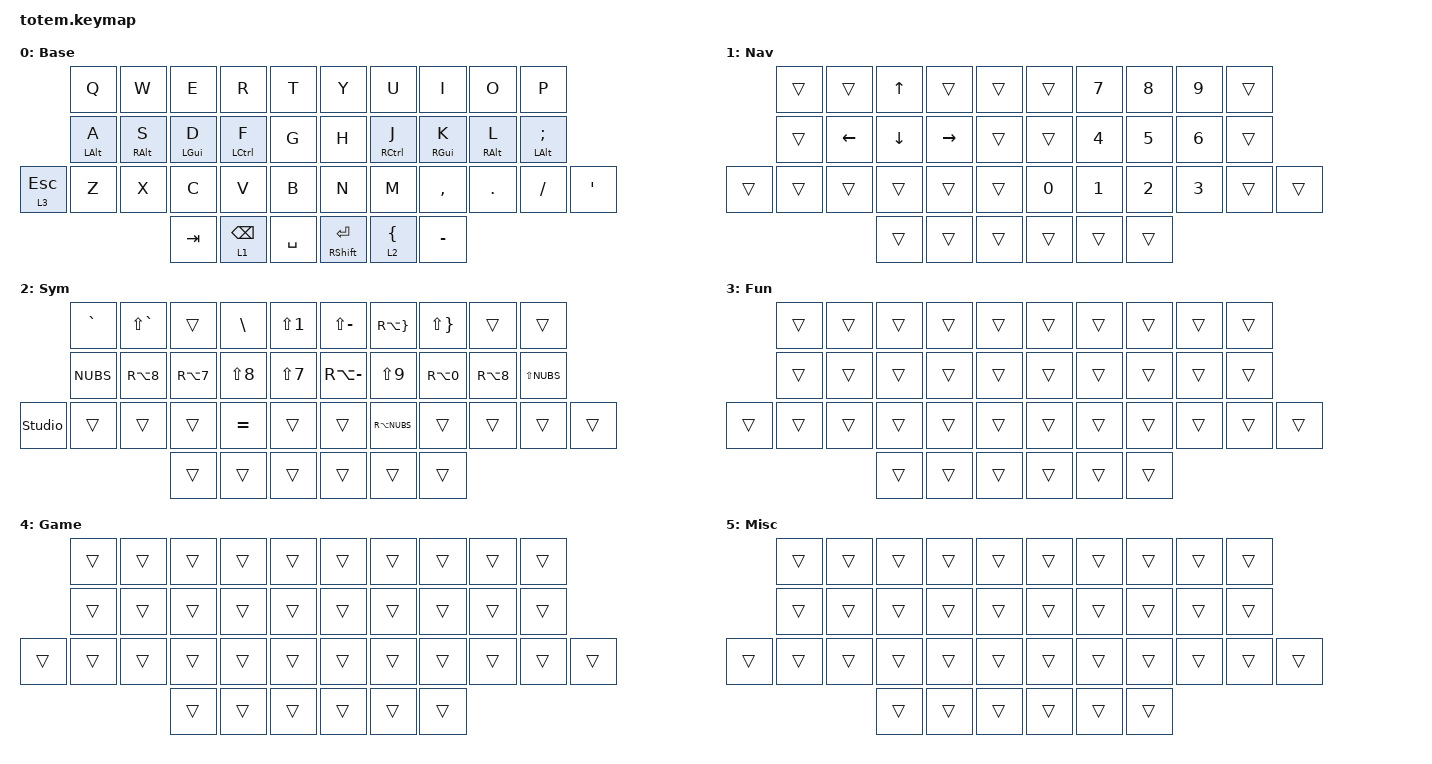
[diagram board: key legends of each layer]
//
//                                                        ▀▀▀▀▀     ▀▀▀▀▀          ▀▀█▀▀
//                                                        ▄▀▀▀▄  ▄  ▄▀▀▀▄  ▄  ▄▀▀▀▄  █  ▄▀▀▀▄
//                                                        █   █  █  █   █  █  █   █  █  █   █
//                                                         ▀▀▀   █   ▀▀▀   █   ▀▀▀   ▀   ▀▀▀
//                                                               █      ▄▄▄█▄▄▄    █   █
//                                                               ▀      █  █  █     █▄█
//                                                             ▀▀▀▀▀    █  █  █      ▀
//                                                                      ▀  ▀  ▀
//
// ▄▄▄▄▄▄▄▄▄▄▄▄▄▄▄▄▄▄▄▄▄▄▄▄▄▄▄▄▄▄▄▄▄▄▄▄▄▄▄▄▄▄▄▄▄▄▄▄▄▄▄▄▄▄▄▄▄▄▄▄▄▄▄▄▄▄▄▄▄▄▄▄▄▄▄▄▄▄▄▄▄▄▄▄▄▄▄▄▄▄▄▄▄▄▄▄▄▄▄▄▄▄▄▄▄▄▄▄▄▄▄▄▄▄▄▄▄▄▄▄▄▄▄▄▄▄▄▄▄▄▄▄▄▄▄▄▄▄▄▄▄▄▄▄▄▄▄▄▄

#include <behaviors.dtsi>
#include <dt-bindings/zmk/keys.h>
#include "zmk-helpers/key-labels/totem.h"

#define KEYS_L LT0 LT1 LT2 LT3 LT4 LM0 LM1 LM2 LM3 LM4 LB0 LB1 LB2 LB3 LB4 LB5 // Left-hand keys.
#define KEYS_R RT0 RT1 RT2 RT3 RT4 RM0 RM1 RM2 RM3 RM4 RB0 RB1 RB2 RB3 RB4 RB5 // Right-hand keys.
#define THUMBS LH2 LH1 LH0 RH0 RH1 RH2                                      // Thumb keys.

#define Base        0
#define Nav         1
#define Sym         2
#define Fun         3
#define Game        4
#define Misc        5

&mt {
    quick-tap-ms = <100>;
    global-quick-tap;
    flavor = "tap-preferred";
    tapping-term-ms = <170>;
};

&lt {
    tapping-term-ms = <240>;
    flavor = "balanced";
    quick-tap-ms = <150>;
};

/ {
    behaviors {
        // hm: homerow_mods {
        //     compatible = "zmk,behavior-hold-tap";
        //     label = "HOMEROW_MODS";
        //     #binding-cells = <2>;
        //     flavor = "tap-preferred";
        //     tapping-term-ms = <200>;
        //     quick-tap-ms = <125>;
        //     global-quick-tap;
        //     bindings = <&kp>, <&kp>;
        // };
        hml: home_row_mod_left {
            compatible = "zmk,behavior-hold-tap";
            #binding-cells = <2>;
            flavor = "balanced";
            require-prior-idle-ms = <150>;
            tapping-term-ms = <280>;
            quick-tap-ms = <175>;
            bindings = <&kp>, <&kp>;
            hold-trigger-key-positions = <KEYS_R THUMBS>;
            hold-trigger-on-release;
        };
        hmr: home_row_mod_right {
            compatible = "zmk,behavior-hold-tap";
            #binding-cells = <2>;
            flavor = "balanced";
            require-prior-idle-ms = <150>;
            tapping-term-ms = <280>;
            quick-tap-ms = <175>;
            bindings = <&kp>, <&kp>;
            hold-trigger-key-positions = <KEYS_L THUMBS>;
            hold-trigger-on-release;
        };
    };

    combos { compatible = "zmk,combos"; };

    keymap {
        compatible = "zmk,keymap";

        Base {
            display-name = "Base";
            bindings = <
              &kp Q       &kp W       &kp E          &kp R         &kp T           &kp Y          &kp U         &kp I        &kp O       &kp P
              &hml LALT A &hml RALT S &hml LGUI D    &hml LCTRL F  &kp G           &kp H          &hmr RCTRL J  &hmr RGUI K  &hmr RALT L &hmr LALT SEMICOLON
&lt 3 ESCAPE  &kp Z       &kp X       &kp C          &kp V         &kp B           &kp N          &kp M         &kp COMMA    &kp DOT     &kp SLASH           &kp APOSTROPHE
                                      &kp TAB        &lt 1 BSPC    &kp SPACE       &mt RSHFT RET  &lt 2 LBRC    &kp MINUS
            >;
        };

        Nav {
            display-name = "Nav";
            bindings = <
              &trans    &trans      &kp UP_ARROW    &trans      &trans          &trans  &kp N7  &kp N8  &kp N9  &trans
              &trans    &kp LEFT    &kp DOWN        &kp RIGHT   &trans          &trans  &kp N4  &kp N5  &kp N6  &trans
       &trans &trans    &trans      &trans          &trans      &trans          &kp N0  &kp N1  &kp N2  &kp N3  &trans  &trans
                                    &trans          &trans      &trans          &trans  &trans  &trans
            >;
        };

        Sym {
            display-name = "Sym";
            bindings = <
                &kp GRAVE   &kp LS(GRAVE)   &trans      &kp BSLH    &kp LS(N1)          &kp LS(MINUS)   &kp RA(RBRC)    &kp LS(RBRC)    &trans      &trans
                &kp NUBS    &kp RA(N8)      &kp RA(N7)  &kp LS(N8)  &kp LS(N7)          &kp RA(MINUS)   &kp LS(N9)      &kp RA(N0)      &kp RA(N8)  &kp LS(NUBS)
&studio_unlock  &trans      &trans          &trans      &kp EQL     &trans              &trans          &kp RA(NUBS)    &trans          &trans      &trans          &trans
                                            &trans      &trans      &trans              &trans          &trans          &trans
            >;
        };
        Fun {
            display-name = "Fun";
            bindings = <
        &trans  &trans  &trans  &trans  &trans          &trans  &trans  &trans  &trans  &trans
        &trans  &trans  &trans  &trans  &trans          &trans  &trans  &trans  &trans  &trans
&trans  &trans  &trans  &trans  &trans  &trans          &trans  &trans  &trans  &trans  &trans  &trans
                        &trans  &trans  &trans          &trans  &trans  &trans
            >;
        };

        Gaming {
            display-name = "Game";
            bindings = <
        &trans  &trans  &trans  &trans  &trans          &trans  &trans  &trans  &trans  &trans
        &trans  &trans  &trans  &trans  &trans          &trans  &trans  &trans  &trans  &trans
&trans  &trans  &trans  &trans  &trans  &trans          &trans  &trans  &trans  &trans  &trans  &trans
                        &trans  &trans  &trans          &trans  &trans  &trans
            >;
        };

        Misc {
            display-name = "Misc";
            bindings = <
        &trans  &trans  &trans  &trans  &trans          &trans  &trans  &trans  &trans  &trans
        &trans  &trans  &trans  &trans  &trans          &trans  &trans  &trans  &trans  &trans
&trans  &trans  &trans  &trans  &trans  &trans          &trans  &trans  &trans  &trans  &trans  &trans
                        &trans  &trans  &trans          &trans  &trans  &trans
            >;
        };

//         Fun {
//             display-name = "Fun";
//             bindings = <
//         &bootloader  &trans  &trans  &trans  &to 4     &trans  &trans  &trans  &kp END  &kp F1
//         &trans       &trans  &trans  &trans  &trans    &trans  &trans  &trans  &trans   &kp F10
// &trans  &trans       &trans  &trans  &trans  &trans    &trans  &trans  &trans  &trans   &kp F20  &kp F7
//                              &trans  &trans  &trans    &trans  &trans  &trans
//             >;
//         };
//
//         Gaming {
//             display-name = "Game";
//             bindings = <
//             &kp Z           &kp X  &kp C      &kp V         &sl 5     &trans  &trans  &trans  &trans  &trans
//             &kp TAB         &kp Q  &kp W      &kp E         &kp R     &trans  &trans  &trans  &trans  &trans
// &kp ESCAPE  &kp LEFT_SHIFT  &kp A  &kp S      &kp D         &kp F     &trans  &trans  &trans  &trans  &trans  &trans
//                                    &kp LCTRL  &kp LEFT_ALT  &trans    &trans  &trans  &trans
//             >;
//         };
//
//         Gaming+ {
//             display-name = "Game+";
//             bindings = <
//         &kp F10  &kp NUMBER_1  &kp NUMBER_2  &kp NUMBER_3  &kp T     &kp RA(RC(Y))  &kp RA(RC(U))  &trans  &trans  &kp LC(RA(DEL))
//         &kp L    &kp O         &kp Y         &kp K         &kp G     &kp F5         &kp F7         &trans  &trans  &kp F12
// &trans  &to 0    &trans        &trans        &trans        &trans    &trans         &trans         &trans  &trans  &kp F22          &kp LA(F4)
//                                &kp J         &kp I         &kp M     &trans         &trans         &trans
//             >;
//         };
    };
};

